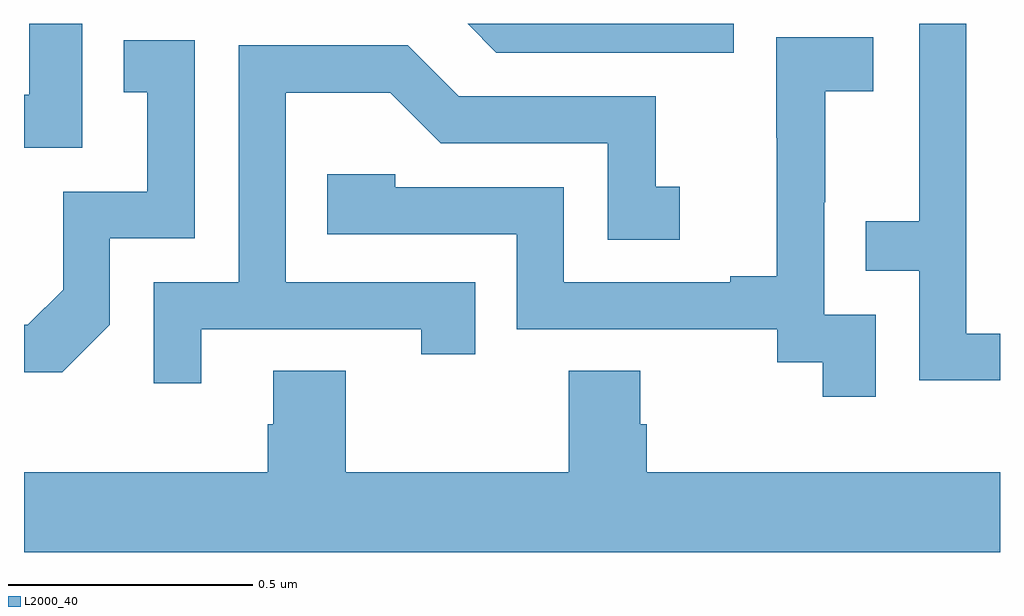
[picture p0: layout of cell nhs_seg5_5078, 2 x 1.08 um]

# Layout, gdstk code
import gdstk
lib = gdstk.Library(unit=1e-6, precision=1e-09)
def P(c, l, *ps):  # polygons
    for p in ps: c.add(gdstk.Polygon(p, *l))
L2000_40 = (2000, 40)

nhs_seg5_5078 = lib.new_cell('nhs_seg5_5078')
P(nhs_seg5_5078, L2000_40, [(178.119,901.799),(178.011,901.799),(178.011,901.654),(178,901.654),(178,901.545),(178.119,901.545)],
  [(179.454,901.799),(178.909,901.799),(178.968,901.74),(179.454,901.74)],
  [(180,901.164),(179.931,901.164),(179.931,901.799),(179.835,901.799),(179.835,901.394),(179.725,901.394),(179.725,901.293),(179.835,901.293),(179.835,901.068),(180,901.068)],
  [(179.745,901.203),(179.64,901.203),(179.64,901.433),(179.642,901.433),(179.642,901.661),(179.74,901.661),(179.74,901.771),(179.542,901.771),(179.542,901.565),(179.543,901.565),(179.543,901.282),(179.447,901.282),(179.447,901.269),(179.106,901.269),(179.106,901.464),(178.761,901.464),(178.761,901.491),(178.621,901.491),(178.621,901.368),(179.01,901.368),(179.01,901.173),(179.544,901.173),(179.544,901.105),(179.637,901.105),(179.637,901.035),(179.745,901.035)],
  [(178.176,901.182),(178.176,901.359),(178.35,901.359),(178.35,901.765),(178.204,901.765),(178.204,901.659),(178.253,901.659),(178.253,901.455),(178.08,901.455),(178.08,901.254),(178.008,901.182),(178,901.182),(178,901.085),(178.078,901.085)],
  [(178.363,901.173),(178.814,901.173),(178.814,901.122),(178.925,901.122),(178.925,901.269),(178.536,901.269),(178.536,901.658),(178.75,901.658),(178.854,901.554),(179.196,901.554),(179.196,901.356),(179.344,901.356),(179.344,901.465),(179.295,901.465),(179.295,901.65),(178.891,901.65),(178.786,901.755),(178.44,901.755),(178.44,901.269),(178.266,901.269),(178.266,901.062),(178.363,901.062)],
  [(180,900.88),(179.276,900.88),(179.276,900.978),(179.263,900.978),(179.263,901.088),(179.116,901.088),(179.116,900.88),(178.659,900.88),(178.659,901.088),(178.511,901.088),(178.511,900.978),(178.499,900.978),(178.499,900.88),(178,900.88),(178,900.716),(180,900.716)])

lib.write_gds('nhs_seg5_5078.gds')
